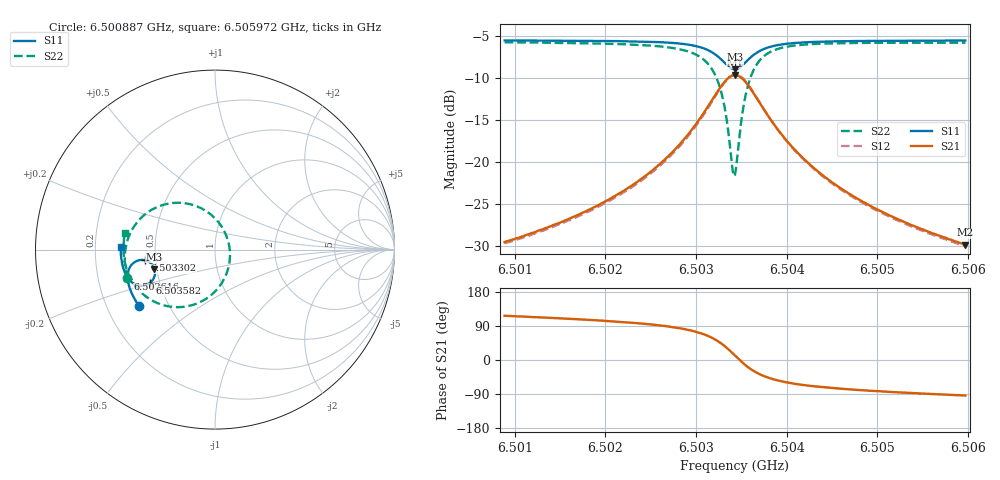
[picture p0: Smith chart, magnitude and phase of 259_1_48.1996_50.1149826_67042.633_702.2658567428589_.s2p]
#  HZ  S  RI  R  50.00
! Rohde & Schwarz Vector Network Analyzer
! Rohde-Schwarz,ZNB20-2Port,1311601062101988,3.16
! Created: UTC 3/20/2024, 11:47:40 AM
! freq[Hz]  re:S11  im:S11  re:S21  im:S21  re:S12  im:S12  re:S22  im:S22
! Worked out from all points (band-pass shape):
!   401 points, 6.500887 GHz to 6.505972 GHz, reference 50 ohm
!   highest |S21| = -9.69 dB at 6.503429 GHz (marker M1); lowest = -29.9 dB at 6.505972 GHz (marker M2)
!   |S21| within 3 dB of the highest: 6.503175 GHz to 6.503683 GHz (508.9 kHz wide, 0.00783 % of centre)
!   lowest |S11| = -9.0 dB at 6.503429 GHz (marker M3), VSWR 2.10, Z = 24.3 - j6 ohm
!   |S11| at or under -10 dB: nowhere
!   |S22| runs from -21.7 to -5.8 dB; largest |S21 - S12| = 0.012
!   S11 on the Smith chart (normalised r, x): 6.500887 GHz: 0.34, -0.29; 6.502616 GHz: 0.33, -0.15; 6.503302 GHz: 0.44, -0.06; 6.503582 GHz: 0.44, -0.20; 6.505972 GHz: 0.31, +0.01
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6.5008867e9  -0.4233 -0.3132  -0.0148 0.0296  -0.0134 0.0298  -0.4881 -0.16
6.5017386e9  -0.4604 -0.2508  -0.0144 0.0473  -0.012 0.0468  -0.5024 -0.0702
6.5021962e9  -0.4767 -0.2107  -0.0115 0.0657  -0.00872 0.0649  -0.5001 -0.00631
6.5025904e9  -0.4863 -0.1677  -0.00258 0.0958  0.000923 0.0934  -0.4808 0.0709
6.5026158e9  -0.4867 -0.1645  -0.00155 0.0984  0.00221 0.096  -0.4784 0.0772
6.5029082e9  -0.4832 -0.1199  0.0256 0.1419  0.0293 0.1377  -0.4221 0.1661
6.5030989e9  -0.4622 -0.0818  0.0794 0.1839  0.0819 0.1777  -0.3191 0.2385
6.5032133e9  -0.4298 -0.0611  0.1481 0.2014  0.149 0.1951  -0.1954 0.2608
6.5033023e9  -0.3896 -0.0594  0.2272 0.1851  0.2276 0.1802  -0.0589 0.2203
6.5033404e9  -0.3704 -0.067  0.2634 0.1623  0.2642 0.1575  0.00104 0.1734
6.503404e9  -0.3439 -0.0935  0.3107 0.0984  0.3134 0.0933  0.0723 0.0505
6.5034294e9  -0.3376 -0.1081  0.3208 0.0664  0.3238 0.0604  0.0829 -0.0093
6.5034549e9  -0.3347 -0.1237  0.3244 0.0327  0.3277 0.0257  0.0807 -0.0703
6.5035184e9  -0.342 -0.1606  0.3061 -0.0448  0.308 -0.0547  0.0247 -0.2048
6.503582e9  -0.3631 -0.1864  0.2633 -0.0986  0.2621 -0.1097  -0.0715 -0.2869
6.5036837e9  -0.4023 -0.2014  0.1889 -0.1343  0.1837 -0.1436  -0.2208 -0.3204
6.503849e9  -0.4483 -0.1917  0.1078 -0.1313  0.1008 -0.1362  -0.3672 -0.2738
6.504027e9  -0.4755 -0.1702  0.0635 -0.1113  0.0574 -0.1134  -0.4387 -0.209
6.5042812e9  -0.4962 -0.1404  0.0338 -0.0872  0.0291 -0.0877  -0.4818 -0.1372
6.5046754e9  -0.5121 -0.0996  0.0145 -0.0633  0.0112 -0.0631  -0.5044 -0.0603
6.505133e9  -0.5212 -0.0575  0.00506 -0.0477  0.00281 -0.047  -0.5103 0.00327
6.5059721e9  -0.5259 0.0133  -0.0021 -0.0319  -0.00337 -0.0312  -0.5021 0.0913
